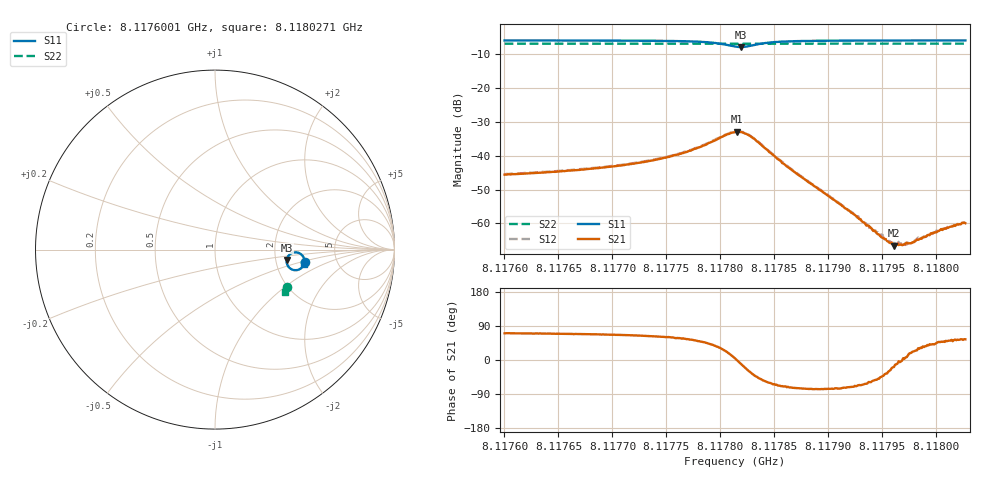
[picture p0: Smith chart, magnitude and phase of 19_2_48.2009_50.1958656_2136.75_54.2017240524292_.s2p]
#  HZ  S  RI  R  50.00
! Rohde & Schwarz Vector Network Analyzer
! Rohde-Schwarz,ZNB20-2Port,1311601062101988,3.16
! Created: UTC 3/20/2024, 11:36:52 AM
! freq[Hz]  re:S11  im:S11  re:S21  im:S21  re:S12  im:S12  re:S22  im:S22
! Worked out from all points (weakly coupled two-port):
!   401 points, 8.1176001 GHz to 8.1180271 GHz, reference 50 ohm
!   highest |S21| = -32.91 dB at 8.1178157 GHz (marker M1); lowest = -66.5 dB at 8.1179609 GHz (marker M2)
!   lowest |S11| = -7.9 dB at 8.1178189 GHz (marker M3), VSWR 2.35, Z = 115 - j15.8 ohm
!   |S11| at or under -10 dB: nowhere
!   |S22| runs from -7.0 to -6.9 dB; largest |S21 - S12| = 0.00057
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8.11760011e9  0.5004 -0.0673  0.00175 0.00497  0.00179 0.00502  0.4014 -0.2086
8.11767163e9  0.4977 -0.077  0.00231 0.00582  0.00241 0.00592  0.3992 -0.2131
8.11770686e9  0.4953 -0.0833  0.0029 0.00657  0.003 0.00666  0.3979 -0.2156
8.11774315e9  0.4899 -0.093  0.00422 0.00787  0.00437 0.008  0.3966 -0.2181
8.11777091e9  0.4788 -0.1045  0.00686 0.00958  0.00703 0.00972  0.3951 -0.2202
8.11779973e9  0.438 -0.1136  0.0157 0.0098  0.016 0.00965  0.3923 -0.2218
8.11781361e9  0.4021 -0.0826  0.0224 0.00169  0.0227 0.00143  0.3905 -0.2207
8.11781574e9  0.3995 -0.0731  0.0226 -0.000435  0.0229 -0.000716  0.3906 -0.2204
8.11781894e9  0.3994 -0.0577  0.022 -0.00376  0.0223 -0.00412  0.3907 -0.22
8.11782962e9  0.4266 -0.0204  0.015 -0.0111  0.0152 -0.0112  0.3921 -0.2191
8.11785951e9  0.4859 -0.0321  0.0026 -0.00701  0.00245 -0.00713  0.3937 -0.2223
8.11788513e9  0.4957 -0.0482  0.000874 -0.00368  0.000845 -0.00371  0.3932 -0.2245
8.11792463e9  0.4988 -0.0619  0.000497 -0.00125  0.000462 -0.00125  0.3918 -0.2276
8.11794064e9  0.4991 -0.0656  0.000463 -0.000681  0.000449 -0.000692  0.3914 -0.2286
8.11795665e9  0.4992 -0.0688  0.000457 -0.000252  0.000474 -0.000294  0.3908 -0.2299
8.11796092e9  0.4991 -0.0695  0.000448 -0.000149  0.000479 -0.000191  0.3906 -0.2299
8.11796839e9  0.4992 -0.0707  0.000478 -1.37e-05  0.000485 4.73e-06  0.3905 -0.2304
8.11797693e9  0.4992 -0.0721  0.000482 0.000165  0.000496 0.000172  0.3901 -0.2311
8.11798227e9  0.499 -0.0731  0.00052 0.000249  0.000536 0.000264  0.3899 -0.2314
8.11799188e9  0.499 -0.0744  0.000513 0.000425  0.000535 0.00041  0.3897 -0.232
8.11800255e9  0.4989 -0.0759  0.00052 0.000574  0.00057 0.000551  0.3892 -0.2328
8.11802711e9  0.4986 -0.0791  0.000584 0.000822  0.000593 0.000845  0.3884 -0.2344
